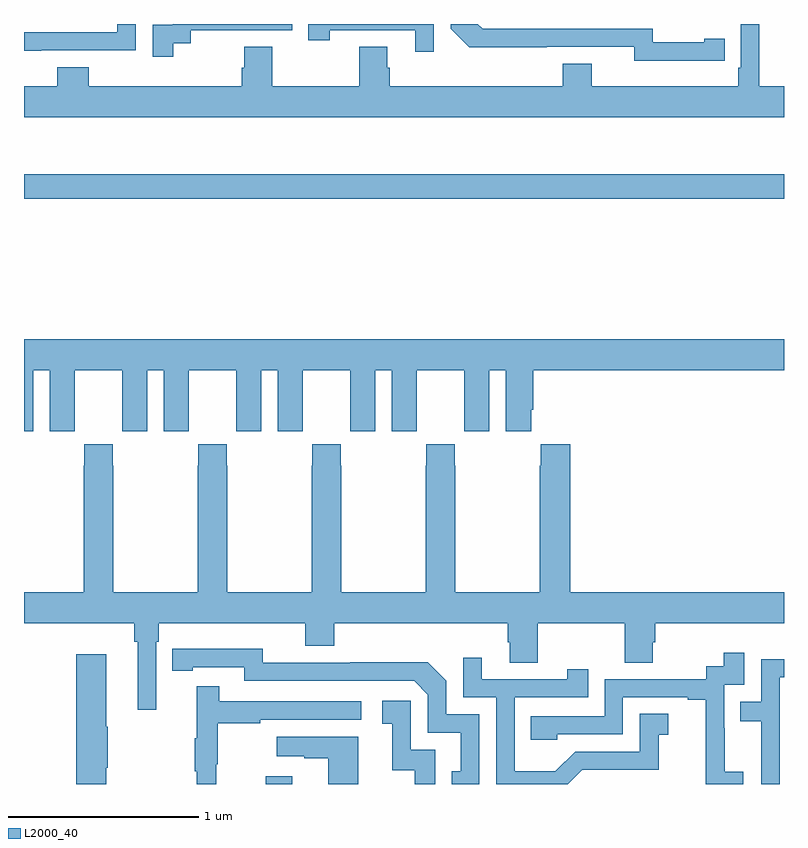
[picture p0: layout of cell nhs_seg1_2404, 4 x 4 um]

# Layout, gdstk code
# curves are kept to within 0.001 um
import gdstk
lib = gdstk.Library(unit=1e-6, precision=1e-09)
def R(c, l, rs):  # rectangles x0, y0, x1, y1
    for r in rs: c.add(gdstk.rectangle(r[:2], r[2:], *l))
def P(c, l, *ps):  # polygons
    for p in ps: c.add(gdstk.Polygon(p, *l))
L2000_40 = (2000, 40)

nhs_seg1_2404 = lib.new_cell('nhs_seg1_2404')
R(nhs_seg1_2404, L2000_40, [(242.273,572.199,242.413,572.239), (241,575.278,245,575.407)])
P(nhs_seg1_2404, L2000_40, [(241.091,576.06),(241.587,576.06),(241.587,576.199),(241.491,576.199),(241.491,576.156),(241,576.156),(241,576.059),(241.091,576.059)],
  [(245,575.872),(244.87,575.872),(244.87,576.199),(244.773,576.199),(244.773,575.968),(244.76,575.968),(244.76,575.872),(243.988,575.872),(243.988,575.989),(243.836,575.989),(243.836,575.872),(242.924,575.872),(242.924,575.97),(242.911,575.97),(242.911,576.08),(242.764,576.08),(242.764,575.872),(242.307,575.872),(242.307,576.08),(242.159,576.08),(242.159,575.97),(242.147,575.97),(242.147,575.872),(241.34,575.872),(241.34,575.971),(241.175,575.971),(241.175,575.872),(241,575.872),(241,575.708),(245,575.708)],
  [(241.786,576.097),(241.878,576.097),(241.878,576.165),(242.412,576.165),(242.412,576.199),(241.782,576.199),(241.782,576.195),(241.677,576.195),(241.677,576.027),(241.786,576.027)],
  [(244.58,576.006),(244.688,576.006),(244.688,576.122),(244.58,576.122),(244.58,576.102),(244.308,576.102),(244.308,576.174),(243.414,576.174),(243.389,576.199),(243.246,576.199),(243.246,576.174),(243.344,576.077),(244.212,576.078),(244.212,576.005)],
  [(243.156,576.199),(242.497,576.199),(242.497,576.114),(242.608,576.114),(242.608,576.165),(243.059,576.165),(243.059,576.054),(243.156,576.054)],
  [(241.048,574.376),(241.136,574.376),(241.136,574.056),(241.266,574.056),(241.266,574.168),(241.267,574.168),(241.267,574.376),(241.517,574.376),(241.517,574.168),(241.518,574.168),(241.518,574.056),(241.648,574.056),(241.648,574.376),(241.736,574.376),(241.736,574.056),(241.866,574.056),(241.866,574.168),(241.867,574.168),(241.867,574.376),(242.117,574.376),(242.117,574.168),(242.118,574.168),(242.118,574.056),(242.248,574.056),(242.248,574.376),(242.336,574.376),(242.336,574.056),(242.466,574.056),(242.466,574.168),(242.467,574.168),(242.467,574.376),(242.717,574.376),(242.717,574.168),(242.718,574.168),(242.718,574.056),(242.848,574.056),(242.848,574.376),(242.936,574.376),(242.936,574.056),(243.066,574.056),(243.066,574.168),(243.067,574.168),(243.067,574.376),(243.317,574.376),(243.317,574.168),(243.318,574.168),(243.318,574.056),(243.448,574.056),(243.448,574.376),(243.536,574.376),(243.536,574.056),(243.67,574.056),(243.67,574.168),(243.68,574.168),(243.68,574.376),(245,574.376),(245,574.54),(241,574.54),(241,574.056),(241.048,574.056)],
  [(241.695,572.948),(241.709,572.948),(241.709,573.044),(242.48,573.044),(242.48,572.927),(242.633,572.927),(242.633,573.044),(243.545,573.044),(243.545,572.946),(243.557,572.946),(243.557,572.836),(243.705,572.836),(243.705,573.044),(244.162,573.044),(244.162,572.836),(244.309,572.836),(244.309,572.946),(244.322,572.946),(244.322,573.044),(245,573.044),(245,573.208),(243.875,573.208),(243.875,573.988),(243.721,573.988),(243.721,573.875),(243.715,573.875),(243.715,573.208),(243.27,573.208),(243.27,573.875),(243.267,573.875),(243.267,573.988),(243.117,573.988),(243.117,573.875),(243.115,573.875),(243.115,573.208),(242.67,573.208),(242.67,573.875),(242.667,573.875),(242.667,573.988),(242.517,573.988),(242.517,573.875),(242.515,573.875),(242.515,573.208),(242.07,573.208),(242.07,573.875),(242.067,573.875),(242.067,573.988),(241.917,573.988),(241.917,573.875),(241.915,573.875),(241.915,573.208),(241.47,573.208),(241.47,573.875),(241.467,573.875),(241.467,573.988),(241.317,573.988),(241.317,573.875),(241.315,573.875),(241.315,573.208),(241,573.208),(241,573.044),(241.579,573.044),(241.579,572.948),(241.598,572.948),(241.598,572.589),(241.695,572.589)],
  [(243.396,572.565),(243.222,572.565),(243.222,572.742),(243.124,572.84),(242.716,572.84),(242.716,572.838),(242.256,572.838),(242.256,572.911),(241.78,572.91),(241.78,572.794),(241.888,572.794),(241.888,572.814),(242.16,572.814),(242.16,572.742),(243.054,572.742),(243.126,572.67),(243.126,572.469),(243.299,572.469),(243.299,572.265),(243.25,572.265),(243.25,572.199),(243.396,572.199)],
  [(244.786,572.263),(244.688,572.263),(244.688,572.492),(244.686,572.492),(244.686,572.721),(244.791,572.721),(244.791,572.89),(244.683,572.89),(244.683,572.82),(244.59,572.82),(244.59,572.751),(244.056,572.751),(244.056,572.556),(243.667,572.556),(243.667,572.433),(243.807,572.433),(243.807,572.46),(244.152,572.46),(244.152,572.655),(244.493,572.655),(244.493,572.643),(244.589,572.643),(244.589,572.359),(244.588,572.359),(244.588,572.199),(244.786,572.199)],
  [(241.432,572.284),(241.44,572.284),(241.44,572.501),(241.432,572.501),(241.432,572.881),(241.274,572.881),(241.274,572.199),(241.432,572.199)],
  [(243.937,572.274),(244.341,572.274),(244.341,572.459),(244.39,572.459),(244.39,572.569),(244.242,572.569),(244.242,572.37),(243.9,572.37),(243.796,572.266),(243.582,572.266),(243.582,572.655),(243.971,572.655),(243.971,572.803),(243.86,572.803),(243.86,572.751),(243.409,572.751),(243.409,572.863),(243.312,572.863),(243.312,572.655),(243.486,572.655),(243.486,572.199),(243.862,572.199)],
  [(244.977,572.76),(245,572.76),(245,572.856),(244.881,572.856),(244.881,572.631),(244.771,572.631),(244.771,572.53),(244.881,572.53),(244.881,572.199),(244.977,572.199)],
  [(242.012,572.304),(242.02,572.304),(242.02,572.518),(242.243,572.518),(242.243,572.538),(242.776,572.538),(242.776,572.634),(242.027,572.634),(242.027,572.713),(241.91,572.713),(241.91,572.441),(241.899,572.441),(241.899,572.267),(241.91,572.267),(241.91,572.199),(242.012,572.199)],
  [(243.165,572.379),(243.036,572.379),(243.036,572.638),(242.886,572.638),(242.886,572.517),(242.939,572.517),(242.939,572.271),(243.057,572.271),(243.057,572.199),(243.165,572.199)],
  [(242.758,572.449),(242.331,572.449),(242.331,572.345),(242.474,572.345),(242.474,572.335),(242.6,572.335),(242.6,572.199),(242.758,572.199)])

lib.write_gds('nhs_seg1_2404.gds')
